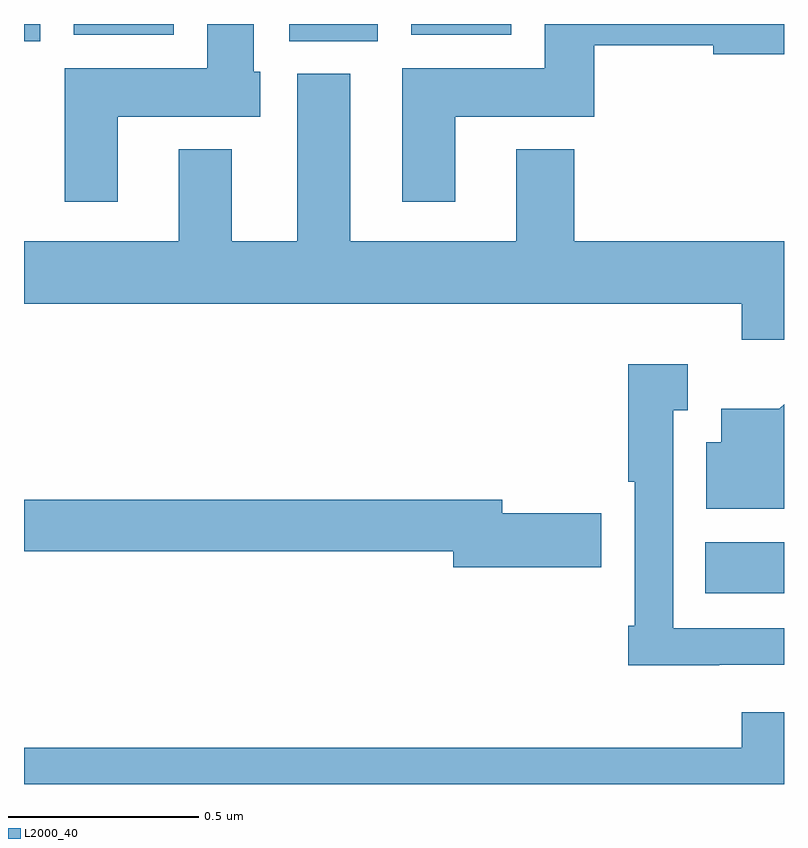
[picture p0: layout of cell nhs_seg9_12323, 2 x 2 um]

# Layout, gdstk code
import gdstk
lib = gdstk.Library(unit=1e-6, precision=1e-09)
def R(c, l, rs):  # rectangles x0, y0, x1, y1
    for r in rs: c.add(gdstk.rectangle(r[:2], r[2:], *l))
def P(c, l, *ps):  # polygons
    for p in ps: c.add(gdstk.Polygon(p, *l))
L2000_40 = (2000, 40)

nhs_seg9_12323 = lib.new_cell('nhs_seg9_12323')
R(nhs_seg9_12323, L2000_40, [(268.793,1185.002,269,1185.136), (267,1186.454,267.043,1186.5), (267.698,1186.454,267.931,1186.5), (267.131,1186.472,267.394,1186.5), (268.019,1186.472,268.282,1186.5)])
P(nhs_seg9_12323, L2000_40, [(267.247,1186.256),(267.622,1186.256),(267.622,1186.374),(267.604,1186.374),(267.604,1186.5),(267.482,1186.5),(267.482,1186.384),(267.107,1186.384),(267.107,1186.032),(267.247,1186.032)],
  [(268.135,1186.256),(268.5,1186.256),(268.5,1186.444),(268.814,1186.444),(268.814,1186.421),(269,1186.421),(269,1186.5),(268.37,1186.5),(268.37,1186.384),(267.995,1186.384),(267.995,1186.032),(268.135,1186.032)],
  [(269,1185.928),(268.448,1185.928),(268.448,1186.171),(268.295,1186.171),(268.295,1185.928),(267.859,1185.928),(267.859,1186.369),(267.719,1186.369),(267.719,1185.928),(267.547,1185.928),(267.547,1186.171),(267.407,1186.171),(267.407,1185.928),(267,1185.928),(267,1185.764),(268.889,1185.764),(268.889,1185.669),(269,1185.669)],
  [(268.83,1184.814),(269,1184.814),(269,1184.91),(268.708,1184.91),(268.708,1185.483),(268.747,1185.483),(268.747,1185.604),(268.59,1185.604),(268.59,1185.295),(268.607,1185.295),(268.607,1184.917),(268.59,1184.917),(268.59,1184.813),(268.83,1184.813)],
  [(269,1185.5),(268.987,1185.487),(268.835,1185.487),(268.835,1185.4),(268.796,1185.4),(268.796,1185.224),(269,1185.224)],
  [(268.519,1185.212),(268.258,1185.212),(268.258,1185.248),(267,1185.248),(267,1185.112),(268.13,1185.112),(268.13,1185.07),(268.519,1185.07)],
  [(269,1184.689),(268.889,1184.689),(268.889,1184.596),(267,1184.596),(267,1184.5),(269,1184.5)])

lib.write_gds('nhs_seg9_12323.gds')
